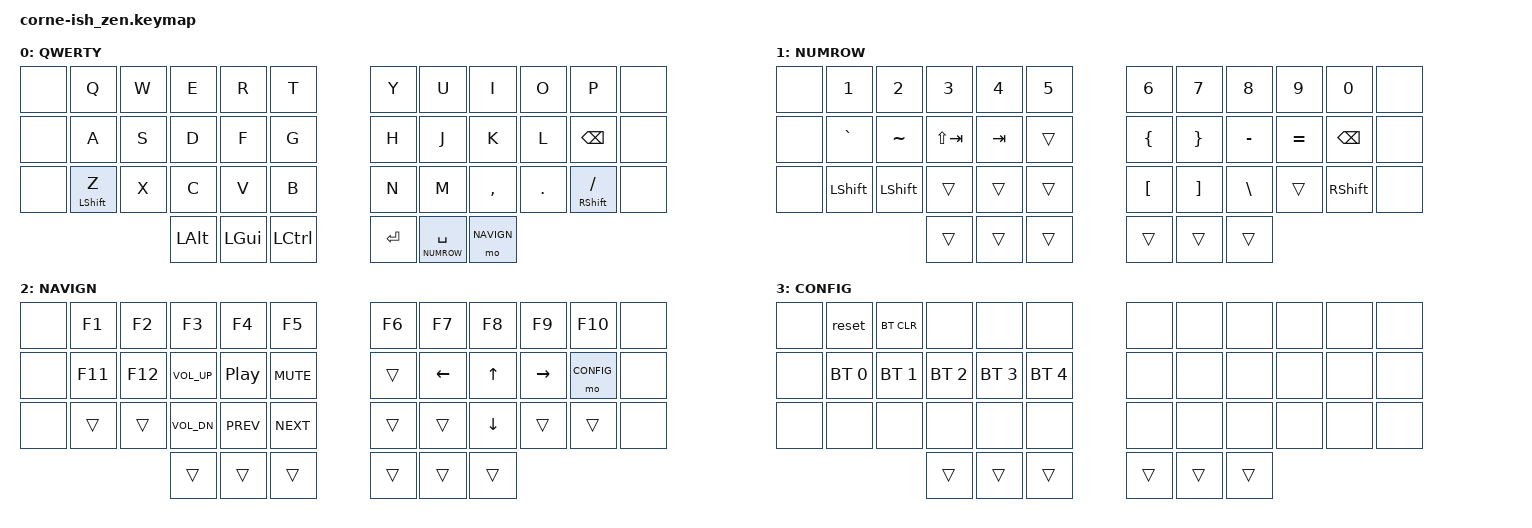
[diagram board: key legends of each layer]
/*
*
* Copyright (c) 2021 Darryl deHaan
* SPDX-License-Identifier: MIT
*
*/

#include <behaviors.dtsi>
#include <dt-bindings/zmk/keys.h>
#include <dt-bindings/zmk/bt.h>

#define QWERTY 0
#define NUMROW 1
#define NAVIGN 2
#define CONFIG 3

/ {
        combos {
          compatible = "zmk,combos";

          combo_esc {
            timeout-ms = <50>;
            key-positions = <1 2>;
            bindings = <&kp ESC>;
          };
          combo_grave {
            timeout-ms = <50>;
            key-positions = <2 3>;
            bindings = <&kp GRAVE>;
          };
          combo_lpar {
            timeout-ms = <50>;
            key-positions = <7 8>;
            bindings = <&kp LPAR>;
          };
          combo_rpar {
            timeout-ms = <50>;
            key-positions = <8 9>;
            bindings = <&kp RPAR>;
          };
          combo_quot {
            timeout-ms = <50>;
            key-positions = <19 20>;
            bindings = <&kp QUOT>;
          };
          combo_tab {
            timeout-ms = <50>;
            key-positions = <13 14>;
            bindings = <&kp TAB>;
          };
          combo_semi {
            timeout-ms = <50>;
            key-positions = <20 21>;
            bindings = <&kp SEMI>;
          };
        };

        keymap {
                compatible = "zmk,keymap";

                default_layer {
                        label = "QWERTY";
// -----------------------------------------------------------------------------------------
// |  TAB |  Q  |  W  |  E  |  R  |  T  |   |  Y  |  U   |  I  |  O  |  P  | BKSP |
// | CTRL |  A  |  S  |  D  |  F  |  G  |   |  H  |  J   |  K  |  L  |  ;  |  '   |
// | SHFT |  Z  |  X  |  C  |  V  |  B  |   |  N  |  M   |  ,  |  .  |  /  | ESC  |
//                    | GUI | LWR | SPC |   | ENT | RSE  | ALT |
                        bindings = <
   &none &kp Q        &kp W &kp E &kp R    &kp T                     &kp Y            &kp U       &kp I    &kp O   &kp P           &none
   &none &kp A        &kp S &kp D &kp F    &kp G                     &kp H            &kp J       &kp K    &kp L   &kp BSPC        &none
   &none &mt LSHIFT Z &kp X &kp C &kp V    &kp B                     &kp N            &kp M       &kp CMMA &kp DOT &mt RSHIFT FSLH &none
                                   &kp LALT &kp LGUI &kp LCTRL    &kp ENTER &lt NUMROW SPACE &mo NAVIGN
                        >;
                };

                numrow_layer {
                        label = "NUMROW";
                        bindings = < 
   &none &kp N1     &kp N2     &kp N3      &kp N4  &kp N5                   &kp N6   &kp N7   &kp N8    &kp N9      &kp N0      &none
   &none &kp GRAVE  &kp TILDE  &kp LS(TAB) &kp TAB &trans                   &kp LBRC &kp RBRC &kp MINUS &kp EQUAL   &kp BSPC    &none
   &none &kp LSHIFT &kp LSHIFT &trans      &trans  &trans                   &kp LBKT &kp RBKT &kp BSLH  &trans      &kp RSHIFT  &none
                                           &trans  &trans &trans    &trans  &trans   &trans
                        >;
                };

                navigation_layer {
                        label = "NAVIGN";
                        bindings = < 
   &none &kp F1  &kp F2  &kp F3        &kp F4            &kp F5                   &kp F6   &kp F7   &kp F8    &kp F9    &kp F10    &none
   &none &kp F11 &kp F12 &kp C_VOL_UP  &kp C_PLAY_PAUSE  &kp K_MUTE               &trans   &kp LEFT &kp UP    &kp RIGHT &mo CONFIG &none
   &none &trans  &trans  &kp C_VOL_DN  &kp C_PREV        &kp C_NEXT               &trans   &trans   &kp DOWN  &trans    &trans     &none
                                       &trans            &trans &trans    &trans  &trans   &trans
                        >;
                };

                config_layer {
                        label = "CONFIG";
                        bindings = <
   &none  &reset        &bt BT_CLR    &none        &none        &none                              &none   &none      &none    &none &none &none 
   &none  &bt BT_SEL 0  &bt BT_SEL 1  &bt BT_SEL 2 &bt BT_SEL 3 &bt BT_SEL 4                       &none   &none      &none    &none &none &none
   &none  &none         &none         &none        &none        &none                              &none   &none      &none    &none &none &none
                                                   &trans       &trans        &trans    &trans     &trans   &trans
                        >;
                };
        };
};
